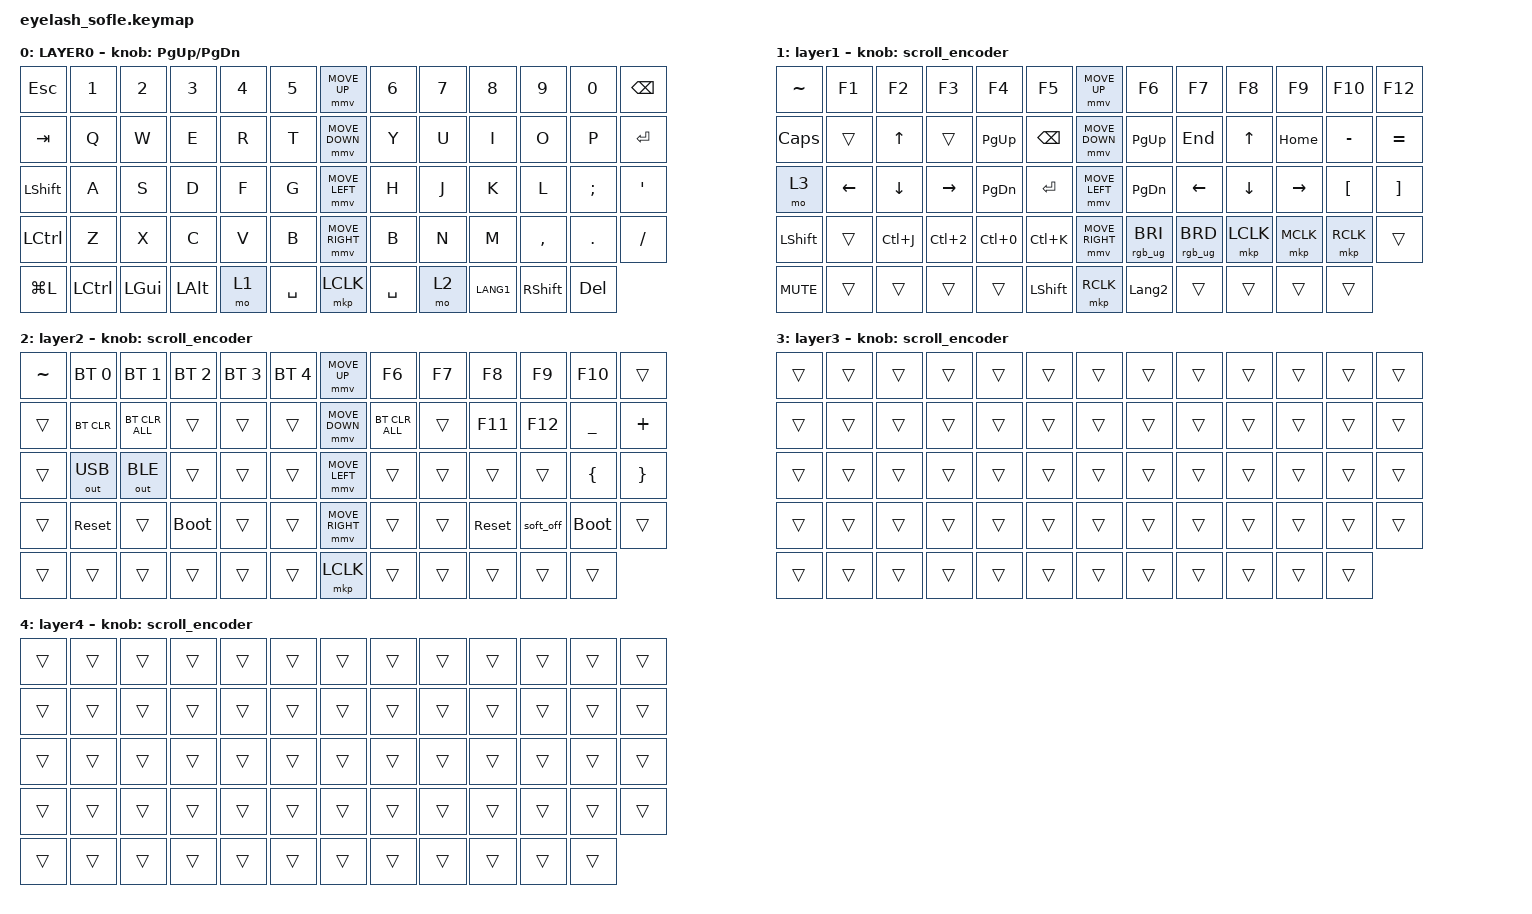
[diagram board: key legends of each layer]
#define ZMK_POINTING_DEFAULT_MOVE_VAL 1200  // 600
#define ZMK_POINTING_DEFAULT_SCRL_VAL 25   // 10

#include <input/processors.dtsi>
#include <zephyr/dt-bindings/input/input-event-codes.h>
#include <behaviors.dtsi>
#include <dt-bindings/zmk/bt.h>
#include <dt-bindings/zmk/keys.h>
#include <dt-bindings/zmk/outputs.h>
#include <dt-bindings/zmk/pointing.h>
#include <dt-bindings/zmk/rgb.h>

&mmv_input_listener { input-processors = <&zip_xy_scaler 2 1>; };

&msc_input_listener { input-processors = <&zip_scroll_scaler 2 1>; };

&msc {
    acceleration-exponent = <1>;      // 0
    time-to-max-speed-ms = <100>;       // 300
    delay-ms = <0>;                   // 0
};

&mmv {
    time-to-max-speed-ms = <500>;
    acceleration-exponent = <1>;
    trigger-period-ms = <16>;
};

&soft_off { hold-time-ms = <2000>; };

/ {
    scroll_encoder: scroll_encoder {
        compatible = "zmk,behavior-sensor-rotate";
        #sensor-binding-cells = <0>;
        bindings = <&msc SCRL_DOWN>, <&msc SCRL_UP>;

        tap-ms = <100>;
    };

    behaviors {
    };

    combos {
        compatible = "zmk,combos";

        softoff {
            bindings = <&soft_off>;
            key-positions = <14 28 40>;
        };
    };

    macros {
        SHIFT_MCLK: SHIFT_MCLK {
            compatible = "zmk,behavior-macro";
            #binding-cells = <0>;
            bindings =
                <&macro_press>,
                <&kp LEFT_SHIFT>,
                <&macro_press>,
                <&mkp MB3>,
                <&macro_pause_for_release>,
                <&macro_release>,
                <&kp LEFT_SHIFT &mkp MB3>;

            label = "SHIFT_MCLK";
        };
    };

    keymap {
        compatible = "zmk,keymap";

        layer0 {
            bindings = <
&kp ESC         &kp N1     &kp N2        &kp N3        &kp N4  &kp N5       &mmv MOVE_UP     &kp N6     &kp N7  &kp N8     &kp N9           &kp N0      &kp BACKSPACE
&kp TAB         &kp Q      &kp W         &kp E         &kp R   &kp T        &mmv MOVE_DOWN   &kp Y      &kp U   &kp I      &kp O            &kp P       &kp ENTER
&kp LEFT_SHIFT  &kp A      &kp S         &kp D         &kp F   &kp G        &mmv MOVE_LEFT   &kp H      &kp J   &kp K      &kp L            &kp SEMI    &kp APOS
&kp LCTRL       &kp Z      &kp X         &kp C         &kp V   &kp B        &mmv MOVE_RIGHT  &kp B      &kp N   &kp M      &kp COMMA        &kp DOT     &kp SLASH
&kp LG(L)       &kp LCTRL  &kp LEFT_GUI  &kp LEFT_ALT  &mo 1   &kp SPACE    &mkp LCLK        &kp SPACE  &mo 2   &kp LANG1  &kp RIGHT_SHIFT  &kp DELETE
            >;

            sensor-bindings = <&inc_dec_kp PAGE_UP PAGE_DOWN>;
            display-name = "LAYER0";
        };

        layer_1 {
            bindings = <
&kp TILDE       &kp F1          &kp F2          &kp F3           &kp F4         &kp F5            &mmv MOVE_UP     &kp F6           &kp F7           &kp F8     &kp F9     &kp F10           &kp F12
&kp CAPSLOCK    &trans          &kp UP_ARROW    &trans           &kp PAGE_UP    &kp BACKSPACE     &mmv MOVE_DOWN   &kp PG_UP        &kp END          &kp UP     &kp HOME   &kp MINUS         &kp EQUAL
&mo 3           &kp LEFT_ARROW  &kp DOWN_ARROW  &kp RIGHT_ARROW  &kp PAGE_DOWN  &kp ENTER         &mmv MOVE_LEFT   &kp PG_DN        &kp LEFT         &kp DOWN   &kp RIGHT  &kp LEFT_BRACKET  &kp RIGHT_BRACKET
&kp LEFT_SHIFT  &trans          &kp LC(J)       &kp LC(N2)       &kp LC(N0)     &kp LC(K)         &mmv MOVE_RIGHT  &rgb_ug RGB_BRI  &rgb_ug RGB_BRD  &mkp LCLK  &mkp MCLK  &mkp RCLK         &trans
&kp C_MUTE      &trans          &trans          &trans           &trans         &kp LEFT_SHIFT    &mkp RCLK        &kp LANGUAGE_2   &trans           &trans     &trans     &trans
            >;

            display-name = "layer1";
            sensor-bindings = <&scroll_encoder>;
        };

        layer_2 {
            bindings = <
&kp TILDE  &bt BT_SEL 0  &bt BT_SEL 1    &bt BT_SEL 2  &bt BT_SEL 3  &bt BT_SEL 4    &mmv MOVE_UP     &kp F6          &kp F7  &kp F8      &kp F9     &kp F10      &trans
&trans     &bt BT_CLR    &bt BT_CLR_ALL  &trans        &trans        &trans          &mmv MOVE_DOWN   &bt BT_CLR_ALL  &trans  &kp F11     &kp F12    &kp UNDER    &kp PLUS
&trans     &out OUT_USB  &out OUT_BLE    &trans        &trans        &trans          &mmv MOVE_LEFT   &trans          &trans  &trans      &trans     &kp LBRC     &kp RBRC
&trans     &sys_reset    &trans          &bootloader   &trans        &trans          &mmv MOVE_RIGHT  &trans          &trans  &sys_reset  &soft_off  &bootloader  &trans
&trans     &trans        &trans          &trans        &trans        &trans          &mkp LCLK        &trans          &trans  &trans      &trans     &trans
            >;

            display-name = "layer2";
            sensor-bindings = <&scroll_encoder>;
        };

        layer_3 {
            bindings = <
&trans  &trans  &trans  &trans  &trans  &trans    &trans  &trans  &trans  &trans  &trans  &trans  &trans
&trans  &trans  &trans  &trans  &trans  &trans    &trans  &trans  &trans  &trans  &trans  &trans  &trans
&trans  &trans  &trans  &trans  &trans  &trans    &trans  &trans  &trans  &trans  &trans  &trans  &trans
&trans  &trans  &trans  &trans  &trans  &trans    &trans  &trans  &trans  &trans  &trans  &trans  &trans
&trans  &trans  &trans  &trans  &trans  &trans    &trans  &trans  &trans  &trans  &trans  &trans
            >;

            display-name = "layer3";
            sensor-bindings = <&scroll_encoder>;
        };

        layer_4 {
            bindings = <
&trans  &trans  &trans  &trans  &trans  &trans    &trans  &trans  &trans  &trans  &trans  &trans  &trans
&trans  &trans  &trans  &trans  &trans  &trans    &trans  &trans  &trans  &trans  &trans  &trans  &trans
&trans  &trans  &trans  &trans  &trans  &trans    &trans  &trans  &trans  &trans  &trans  &trans  &trans
&trans  &trans  &trans  &trans  &trans  &trans    &trans  &trans  &trans  &trans  &trans  &trans  &trans
&trans  &trans  &trans  &trans  &trans  &trans    &trans  &trans  &trans  &trans  &trans  &trans
            >;

            display-name = "layer4";
            sensor-bindings = <&scroll_encoder>;
        };
    };
};
